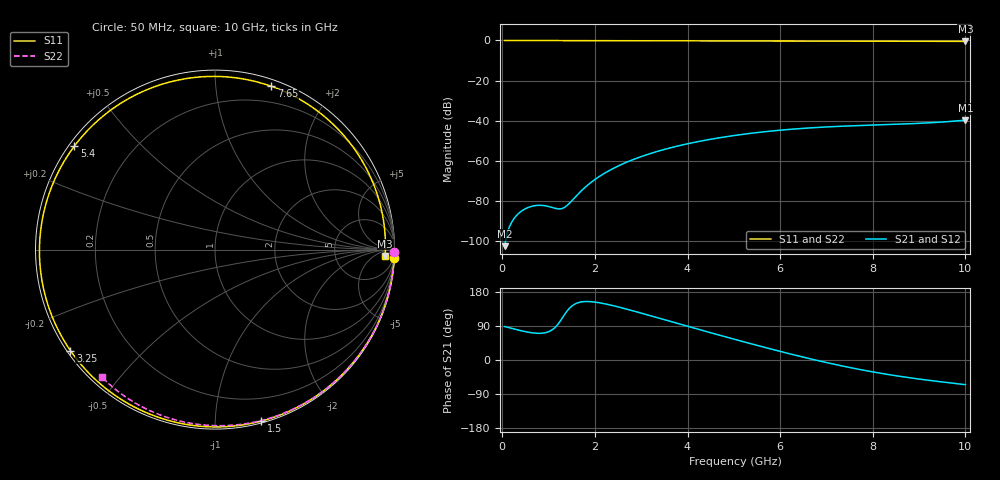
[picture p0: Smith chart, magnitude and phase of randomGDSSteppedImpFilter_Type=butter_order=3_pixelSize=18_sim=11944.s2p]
! freq	dB(S11)	phase(S11)	dB(S12)	phase(S12)
!  dB(S21)	phase(S21)	dB(S22)	phase(S22)
!S-par simulation data
#  GHz  S  DB  R 50
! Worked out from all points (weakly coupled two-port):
!   200 points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, 50 MHz to 10 GHz, reference 50 ohm
!   highest |S21| = -39.63 dB at 10 GHz (marker M1); lowest = -102.3 dB at 50 MHz (marker M2)
!   lowest |S11| = -0.5 dB at 10 GHz (marker M3), VSWR 37.97, Z = 1.28e+03 - j891 ohm
!   |S11| at or under -10 dB: nowhere
!   |S22| runs from -0.4 to 0.0 dB; largest |S21 - S12| = 0
!   S11 on the Smith chart (normalised r, x): 50 MHz: 0, -43; 1.5 GHz: 0.01, -1.31; 3.25 GHz: 0.01, -0.31; 5.4 GHz: 0.02, +0.33; 7.65 GHz: 0.06, +1.40; 10 GHz: 26, -18
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0.05  -0.00 -2.7  -102.33 88.3  -102.33 88.3  -0.00 -0.8
0.45  -0.03 -23.5  -84.34 76.0  -84.34 76.0  -0.01 -6.8
0.85  -0.06 -43.8  -82.03 70.6  -82.03 70.6  -0.02 -12.8
1.2  -0.07 -60.8  -83.78 94.1  -83.78 94.1  -0.02 -18.1
1.5  -0.09 -74.8  -79.75 142.2  -79.75 142.2  -0.03 -22.5
1.75  -0.10 -86.0  -73.85 153.9  -73.85 153.9  -0.03 -26.2
2.05  -0.11 -98.9  -68.37 151.9  -68.37 151.9  -0.04 -30.6
2.4  -0.12 -113.2  -63.61 143.1  -63.61 143.1  -0.05 -35.7
2.85  -0.14 -130.5  -59.03 128.8  -59.03 128.8  -0.05 -42.1
3.25  -0.15 -145.1  -55.87 115.1  -55.87 115.1  -0.06 -47.8
3.4  -0.16 -150.4  -54.85 109.9  -54.85 109.9  -0.07 -49.9
3.8  -0.17 -164.2  -52.45 96.0  -52.45 96.0  -0.08 -55.4
4.2  -0.19 -177.5  -50.44 82.2  -50.44 82.2  -0.09 -60.9
5.05  -0.22 154.9  -47.15 53.4  -47.15 53.4  -0.11 -72.2
5.4  -0.24 143.7  -46.10 41.9  -46.10 41.9  -0.12 -76.8
6.1  -0.27 121.2  -44.44 19.6  -44.44 19.6  -0.15 -85.6
6.7  -0.30 101.8  -43.42 1.7  -43.42 1.7  -0.18 -93.1
7.15  -0.31 87.2  -42.86 -10.8  -42.86 -10.8  -0.20 -98.5
7.65  -0.33 70.9  -42.38 -23.4  -42.38 -23.4  -0.24 -104.5
8.35  -0.36 48.3  -41.82 -38.7  -41.82 -38.7  -0.29 -112.7
9.2  -0.40 21.6  -40.99 -53.5  -40.99 -53.5  -0.36 -122.4
10  -0.46 -2.1  -39.63 -65.1  -39.63 -65.1  -0.45 -131.4
